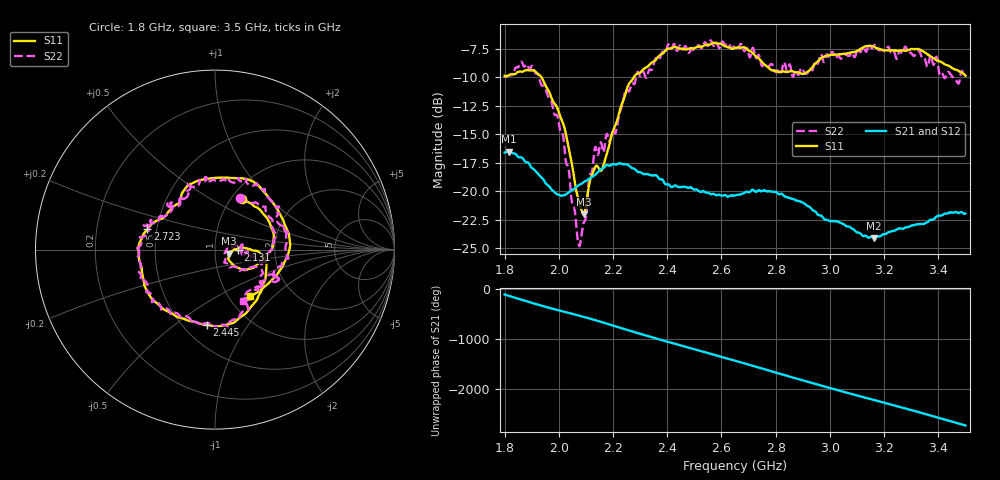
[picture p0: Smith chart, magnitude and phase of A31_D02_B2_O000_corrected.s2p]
! Created with skrf 1.9.0 (http://scikit-rf.org).
# Hz S RI R 50.0
!freq ReS11 ImS11 ReS21 ImS21 ReS12 ImS12 ReS22 ImS22
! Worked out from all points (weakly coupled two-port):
!   1601 points, 1.8 GHz to 3.5 GHz, reference 50 ohm
!   highest |S21| = -16.56 dB at 1.817 GHz (marker M1); lowest = -24.1 dB at 3.163 GHz (marker M2)
!   lowest |S11| = -22.1 dB at 2.091 GHz (marker M3), VSWR 1.17, Z = 58.1 - j2.7 ohm
!   |S11| at or under -10 dB: 1.936 GHz to 2.277 GHz (341.8 MHz wide, 16.2 % of centre)
!   |S22| runs from -24.8 to -6.8 dB; largest |S21 - S12| = 0.0025
!   S11 on the Smith chart (normalised r, x): 1.8 GHz: 1.12, +0.71; 2.131 GHz: 1.29, -0.01; 2.445 GHz: 0.65, -0.66; 2.723 GHz: 0.44, +0.12; 3.5 GHz: 1.25, -0.72
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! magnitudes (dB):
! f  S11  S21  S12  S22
! 1.8 GHz  -9.9  -16.6  -16.6  -10.0
! 1.817 GHz  -9.8  -16.6  -16.6  -9.8
! 1.902 GHz  -9.4  -18.0  -18.0  -9.0
! 1.968 GHz  -11.5  -19.7  -19.7  -11.9
! 2.02 GHz  -14.4  -20.4  -20.4  -16.0
! 2.071 GHz  -20.6  -19.5  -19.6  -24.5
! 2.084 GHz  -21.6  -19.4  -19.3  -23.8
! 2.091 GHz  -22.1  -19.2  -19.3  -22.8
! 2.131 GHz  -18.0  -18.6  -18.6  -16.4
! 2.162 GHz  -17.9  -18.0  -17.9  -16.5
! 2.21 GHz  -14.2  -17.7  -17.6  -14.9
! 2.26 GHz  -10.5  -17.8  -17.8  -11.2
! 2.367 GHz  -8.2  -18.8  -18.8  -8.5
! 2.445 GHz  -7.5  -19.7  -19.7  -7.3
! 2.65 GHz  -7.5  -20.4  -20.3  -7.2
! 2.723 GHz  -8.1  -20.0  -20.0  -8.1
! 2.812 GHz  -9.6  -20.3  -20.2  -9.5
! 2.934 GHz  -9.2  -21.6  -21.6  -9.5
! 3.163 GHz  -7.3  -24.1  -24.1  -7.2
! 3.217 GHz  -7.6  -23.6  -23.6  -7.4
! 3.33 GHz  -7.6  -22.9  -22.9  -7.7
! 3.5 GHz  -9.9  -22.0  -22.0  -9.8
